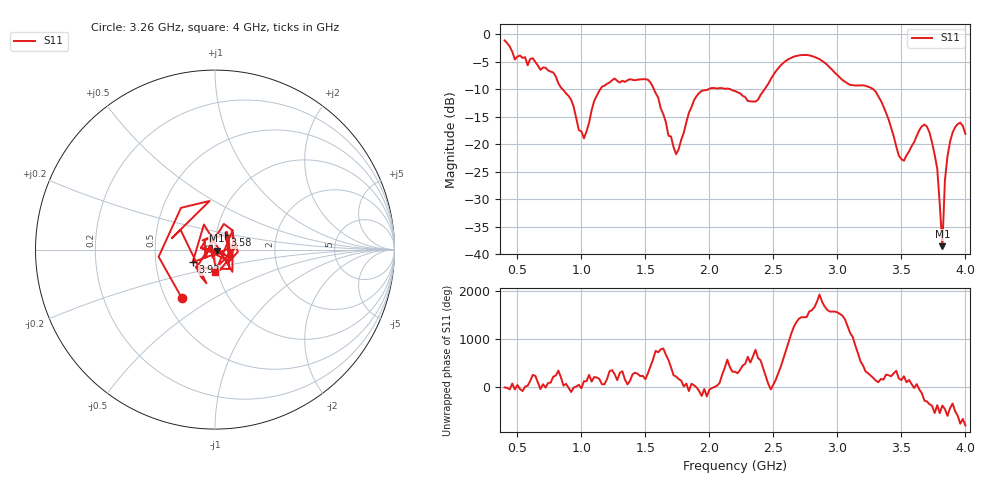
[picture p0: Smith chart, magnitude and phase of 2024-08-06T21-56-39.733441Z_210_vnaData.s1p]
!Created with skrf (http://scikit-rf.org).
# Hz S RI R 50.0
!freq ReS11 ImS11
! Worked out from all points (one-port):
!   181 points, 400 MHz to 4 GHz, reference 50 ohm
!   lowest |S11| = -38.5 dB at 3.82 GHz (marker M1), VSWR 1.02, Z = 51 - j0.646 ohm
!   |S11| at or under -10 dB: 853.4 MHz to 1.148 GHz (294.1 MHz wide, 29.4 % of centre); 1.567 GHz to 1.991 GHz (424.3 MHz wide, 23.9 % of centre); 3.28 GHz to end of sweep (the widest 3 of 4)
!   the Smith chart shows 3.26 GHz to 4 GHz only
!   S11 on the Smith chart (normalised r, x): 3.26 GHz: 0.60, -0.37; 3.58 GHz: 1.10, +0.18; 3.92 GHz: 0.77, -0.11; 4 GHz: 0.97, -0.25
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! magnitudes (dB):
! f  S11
! 400 MHz  -1.1
! 480 MHz  -4.6
! 620 MHz  -4.4
! 860 MHz  -10.2
! 1.02 GHz  -18.9
! 1.14 GHz  -10.3
! 1.3 GHz  -8.8
! 1.54 GHz  -8.8
! 1.74 GHz  -21.8
! 1.76 GHz  -20.9
! 1.92 GHz  -10.7
! 2.2 GHz  -10.3
! 2.36 GHz  -12.2
! 2.66 GHz  -4.1
! 3.1 GHz  -9.2
! 3.26 GHz  -9.7
! 3.36 GHz  -13.1
! 3.48 GHz  -22.1
! 3.56 GHz  -21.3
! 3.58 GHz  -20.3
! 3.66 GHz  -16.7
! 3.72 GHz  -17.9
! 3.78 GHz  -24.4
! 3.82 GHz  -38.5
! 3.84 GHz  -26.6
! 3.86 GHz  -22.2
! 3.92 GHz  -16.9
! 4 GHz  -18.1
